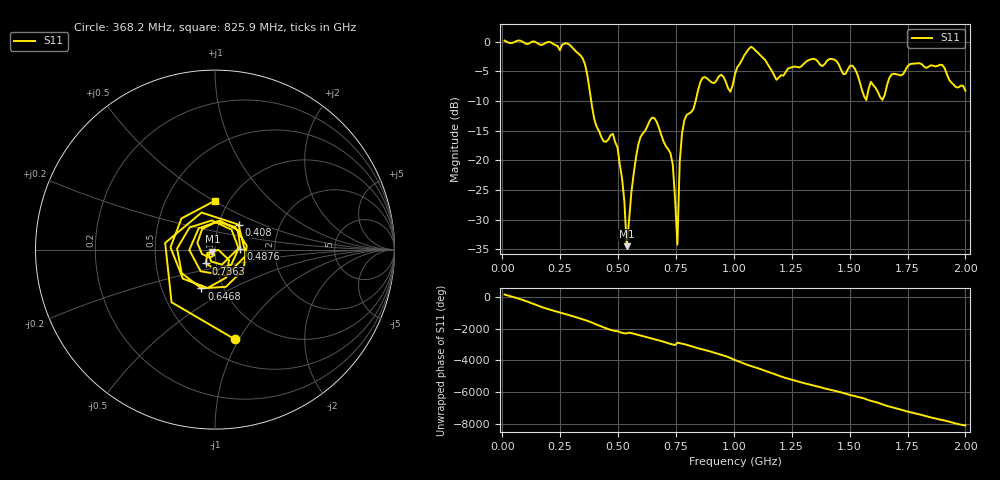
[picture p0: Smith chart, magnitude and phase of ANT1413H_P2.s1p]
!Created with skrf (http://scikit-rf.org).
# Hz S RI R 50.0
!freq ReS11 ImS11
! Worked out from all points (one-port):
!   201 points, 10 MHz to 2 GHz, reference 50 ohm
!   lowest |S11| = -34.5 dB at 537.4 MHz (marker M1), VSWR 1.04, Z = 48.5 - j1.16 ohm
!   |S11| at or under -10 dB: 384.2 MHz to 834.8 MHz (450.6 MHz wide, 73.9 % of centre)
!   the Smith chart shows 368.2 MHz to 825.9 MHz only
!   S11 on the Smith chart (normalised r, x): 368.2 MHz: 0.71, -0.96; 408 MHz: 1.24, +0.36; 487.6 MHz: 1.33, +0.01; 646.8 MHz: 0.79, -0.36; 736.4 MHz: 0.89, -0.14; 825.9 MHz: 0.86, +0.51
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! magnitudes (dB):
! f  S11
! 10 MHz  0.2
! 258.8 MHz  -0.5
! 368.2 MHz  -5.8
! 408 MHz  -14.4
! 487.6 MHz  -17.0
! 507.5 MHz  -20.7
! 527.4 MHz  -27.0
! 537.4 MHz  -34.5
! 587.1 MHz  -17.4
! 646.8 MHz  -12.8
! 736.4 MHz  -20.7
! 756.2 MHz  -34.2
! 766.2 MHz  -20.3
! 776.1 MHz  -15.5
! 825.9 MHz  -11.3
! 865.7 MHz  -6.1
! 985.1 MHz  -8.4
! 1.005 GHz  -5.5
! 1.075 GHz  -0.8
! 1.184 GHz  -6.4
! 1.254 GHz  -4.3
! 1.502 GHz  -4.0
! 1.572 GHz  -9.8
! 1.592 GHz  -6.7
! 1.642 GHz  -9.8
! 1.751 GHz  -4.1
! 1.901 GHz  -3.9
! 2 GHz  -8.3
